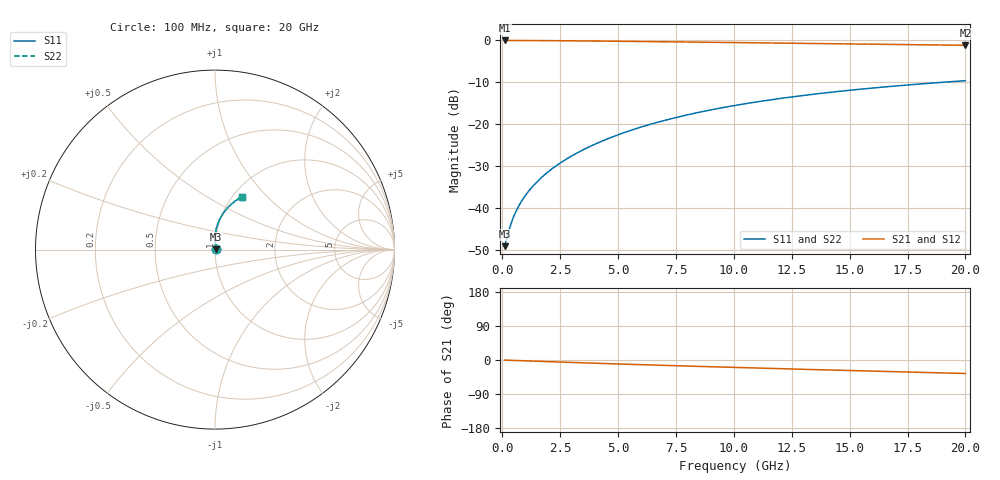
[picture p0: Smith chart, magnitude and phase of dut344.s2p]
! Touchstone file exported from HFSS 2024.1.0
!  File:  C:/UserFiles/LocalFiles/RDL_TSV_Batchsim/temp_RDL_bottom_344_1779612073.aedt
!  Generated:  04:43:46 PM May 24, 2026
!  Design:  RDL_bottom
!  Project:  temp_RDL_bottom_344_1779612073
!  Setup:  Setup1
!  Solution:  Sweep
! Variables:
!  dtsv = 10.80580581um
!  hbump = 3um
!  htsv = 53.34um
!  ldown = 481.28um
!  lrdl = 100um
!  p = 40
!  p1 = 57.5um
!  rhole = 1um
!  t = 450um
!  tdown = 2.16um
!  trdl = 3.915915916um
!  wdown = 28.66um
!  wrdl = 20um
# GHz S MA R 50.000000
! Terminal data exported
! Port[1] = RDL1_T1
! Port[2] = RDL1_T2
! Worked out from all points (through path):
!   200 points, 100 MHz to 20 GHz, reference 50 ohm
!   highest |S21| = -0.03 dB at 100 MHz (marker M1); lowest = -1.2 dB at 20 GHz (marker M2)
!   group delay of S21, straight-line fit = 4.87 ps
!   lowest |S11| = -49.1 dB at 100 MHz (marker M3), VSWR 1.01, Z = 50.3 + j0.153 ohm
!   |S11| at or under -10 dB: start of sweep to 19.03 GHz
!   |S22| runs from -49.1 to -9.6 dB; largest |S21 - S12| = 2.4e-15
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0.1  0.003503 25.7  0.9968 -0.2  0.9968 -0.2  0.003503 25.7
! Gamma 0 0 0 0
! Port Impedance 50 0 50 0
0.3  0.00557 52.7  0.9965 -0.7  0.9965 -0.7  0.00557 52.7
0.4  0.006779 59.0  0.9963 -0.9  0.9963 -0.9  0.006779 59.0
0.5  0.007999 63.3  0.996 -1.1  0.996 -1.1  0.007999 63.3
0.6  0.009218 66.5  0.9958 -1.4  0.9958 -1.4  0.009218 66.5
0.7  0.01044 69.1  0.9956 -1.6  0.9956 -1.6  0.01044 69.1
0.9  0.01289 73.1  0.9951 -2.0  0.9951 -2.0  0.01289 73.1
1.2  0.01665 77.3  0.9943 -2.7  0.9943 -2.7  0.01665 77.3
1.7  0.02319 81.9  0.9928 -3.7  0.9928 -3.7  0.02319 81.9
2.2  0.03007 84.8  0.9909 -4.8  0.9909 -4.8  0.03007 84.7
2.8  0.03879 86.9  0.9881 -6.1  0.9881 -6.1  0.03879 86.9
3.5  0.04959 88.3  0.9844 -7.5  0.9844 -7.5  0.04958 88.2
4.2  0.061 88.9  0.9803 -8.9  0.9803 -8.9  0.06097 88.8
5  0.07466 88.8  0.9752 -10.5  0.9752 -10.5  0.07462 88.8
5.9  0.09064 88.2  0.9693 -12.2  0.9693 -12.2  0.09058 88.1
6.8  0.1071 87.1  0.9632 -13.9  0.9632 -13.9  0.107 87.1
8.4  0.1367 84.6  0.9522 -16.7  0.9522 -16.7  0.1366 84.5
10.1  0.1681 81.4  0.9405 -19.7  0.9405 -19.7  0.168 81.4
11.7  0.1971 78.3  0.9296 -22.4  0.9296 -22.4  0.1969 78.3
13.4  0.2269 75.1  0.918 -25.2  0.918 -25.2  0.2266 75.0
16.7  0.281 68.9  0.8953 -30.5  0.8953 -30.5  0.2808 68.8
20  0.33 63.1  0.8724 -35.6  0.8724 -35.6  0.3297 63.1
